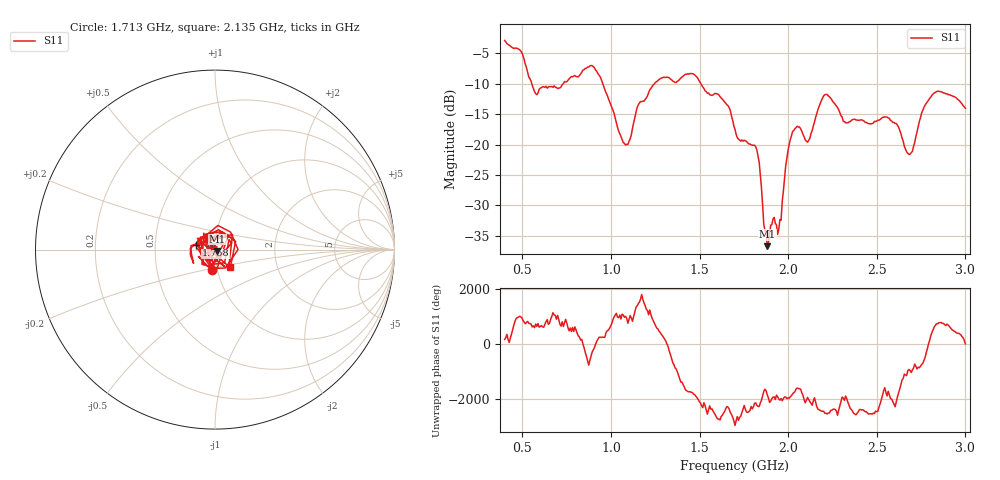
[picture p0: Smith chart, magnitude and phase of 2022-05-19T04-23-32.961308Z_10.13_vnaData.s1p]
!Created with skrf (http://scikit-rf.org).
# Hz S RI R 50.0
!freq ReS11 ImS11
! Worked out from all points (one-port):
!   401 points, 400 MHz to 3 GHz, reference 50 ohm
!   lowest |S11| = -36.7 dB at 1.882 GHz (marker M1), VSWR 1.03, Z = 51.2 - j0.83 ohm
!   |S11| at or under -10 dB: 553.6 MHz to 729.9 MHz (176.3 MHz wide, 27.5 % of centre); 954 MHz to 1.245 GHz (290.8 MHz wide, 26.5 % of centre); 1.508 GHz to end of sweep
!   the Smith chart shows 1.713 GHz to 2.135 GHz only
!   S11 on the Smith chart (normalised r, x): 1.713 GHz: 0.94, -0.22; 1.758 GHz: 0.81, +0.04; 2.135 GHz: 1.16, -0.23
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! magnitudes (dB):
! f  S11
! 400 MHz  -2.9
! 491 MHz  -4.6
! 575.5 MHz  -11.6
! 725 MHz  -10.1
! 900.5 MHz  -7.2
! 1.05 GHz  -18.2
! 1.095 GHz  -20.0
! 1.154 GHz  -13.5
! 1.258 GHz  -9.6
! 1.375 GHz  -9.6
! 1.472 GHz  -8.5
! 1.655 GHz  -13.4
! 1.7 GHz  -17.5
! 1.713 GHz  -18.8
! 1.758 GHz  -19.4
! 1.823 GHz  -20.9
! 1.882 GHz  -36.7
! 1.947 GHz  -33.9
! 1.999 GHz  -21.0
! 2.025 GHz  -17.8
! 2.11 GHz  -19.6
! 2.135 GHz  -17.7
! 2.213 GHz  -11.7
! 2.35 GHz  -16.2
! 2.558 GHz  -15.5
! 2.675 GHz  -21.4
! 2.825 GHz  -11.5
! 3 GHz  -14.0
